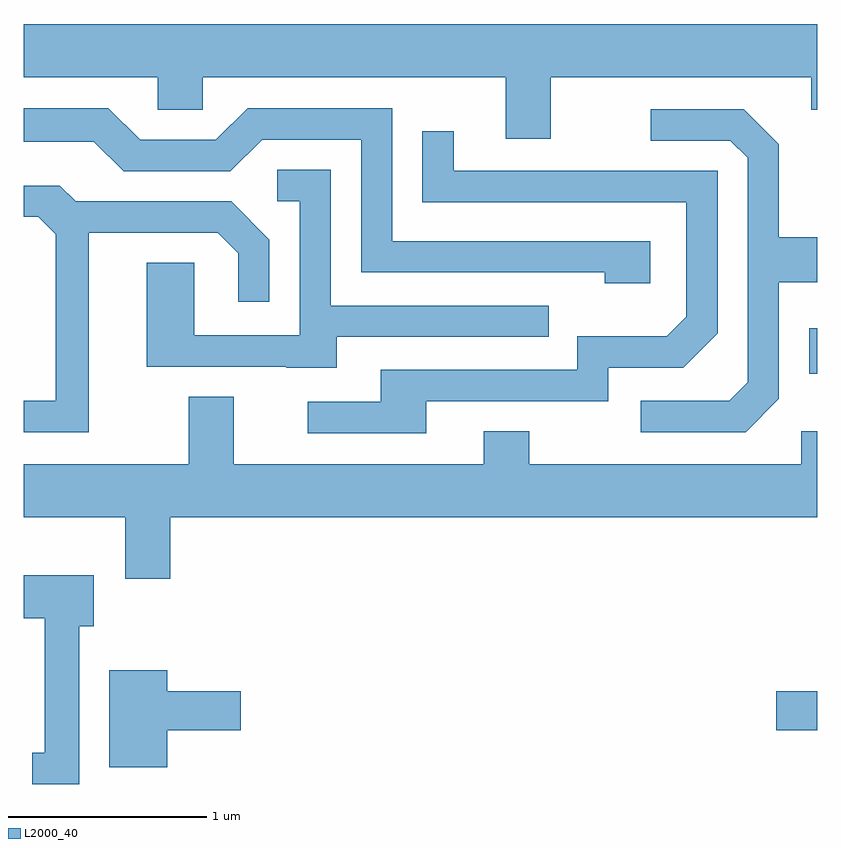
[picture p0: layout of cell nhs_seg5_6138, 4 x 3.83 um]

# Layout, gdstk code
import gdstk
lib = gdstk.Library(unit=1e-6, precision=1e-09)
def R(c, l, rs):  # rectangles x0, y0, x1, y1
    for r in rs: c.add(gdstk.rectangle(r[:2], r[2:], *l))
def P(c, l, *ps):  # polygons
    for p in ps: c.add(gdstk.Polygon(p, *l))
L2000_40 = (2000, 40)

nhs_seg5_6138 = lib.new_cell('nhs_seg5_6138')
R(nhs_seg5_6138, L2000_40, [(371.406,1422.421,371.611,1422.619), (371.571,1424.221,371.611,1424.449)])
P(nhs_seg5_6138, L2000_40, [(370.269,1425.716),(371.581,1425.716),(371.581,1425.551),(371.611,1425.551),(371.611,1425.984),(367.611,1425.984),(367.611,1425.716),(368.286,1425.716),(368.286,1425.551),(368.514,1425.551),(368.514,1425.716),(370.041,1425.716),(370.041,1425.406),(370.269,1425.406)],
  [(370.769,1424.889),(369.469,1424.889),(369.469,1425.559),(368.739,1425.559),(368.579,1425.399),(368.197,1425.399),(368.037,1425.559),(367.611,1425.559),(367.611,1425.391),(367.964,1425.391),(368.114,1425.241),(368.652,1425.241),(368.812,1425.401),(369.311,1425.401),(369.311,1424.731),(370.541,1424.731),(370.541,1424.676),(370.769,1424.676)],
  [(371.419,1424.094),(371.419,1424.681),(371.611,1424.681),(371.611,1424.909),(371.419,1424.909),(371.419,1425.377),(371.242,1425.554),(370.773,1425.554),(370.773,1425.396),(371.174,1425.396),(371.261,1425.309),(371.261,1424.177),(371.169,1424.084),(370.723,1424.084),(370.723,1423.926),(371.252,1423.926)],
  [(369.639,1424.081),(370.559,1424.081),(370.559,1424.251),(370.937,1424.251),(371.109,1424.424),(371.109,1425.244),(369.779,1425.244),(369.779,1425.443),(369.621,1425.443),(369.621,1425.086),(370.951,1425.086),(370.951,1424.507),(370.854,1424.409),(370.401,1424.409),(370.401,1424.239),(369.411,1424.239),(369.411,1424.079),(369.043,1424.079),(369.043,1423.921),(369.639,1423.921)],
  [(369.189,1424.406),(370.258,1424.406),(370.258,1424.564),(369.159,1424.564),(369.159,1425.249),(368.888,1425.249),(368.888,1425.091),(369.001,1425.091),(369.001,1424.414),(368.469,1424.414),(368.469,1424.779),(368.231,1424.779),(368.231,1424.256),(368.935,1424.256),(368.935,1424.251),(369.189,1424.251)],
  [(367.939,1424.931),(368.589,1424.931),(368.691,1424.829),(368.691,1424.583),(368.849,1424.583),(368.849,1424.897),(368.657,1425.089),(367.872,1425.089),(367.792,1425.169),(367.611,1425.169),(367.611,1425.011),(367.684,1425.011),(367.771,1424.924),(367.771,1424.084),(367.611,1424.084),(367.611,1423.926),(367.939,1423.926)],
  [(368.349,1423.496),(371.611,1423.496),(371.611,1423.929),(371.531,1423.929),(371.531,1423.764),(370.159,1423.764),(370.159,1423.929),(369.931,1423.929),(369.931,1423.764),(368.669,1423.764),(368.669,1424.104),(368.441,1424.104),(368.441,1423.764),(367.611,1423.764),(367.611,1423.496),(368.121,1423.496),(368.121,1423.186),(368.349,1423.186)],
  [(367.889,1422.946),(367.964,1422.946),(367.964,1423.204),(367.611,1423.204),(367.611,1422.986),(367.716,1422.986),(367.716,1422.309),(367.653,1422.309),(367.653,1422.151),(367.889,1422.151)],
  [(368.334,1422.421),(368.704,1422.421),(368.704,1422.619),(368.334,1422.619),(368.334,1422.724),(368.041,1422.724),(368.041,1422.236),(368.334,1422.236)])

lib.write_gds('nhs_seg5_6138.gds')
